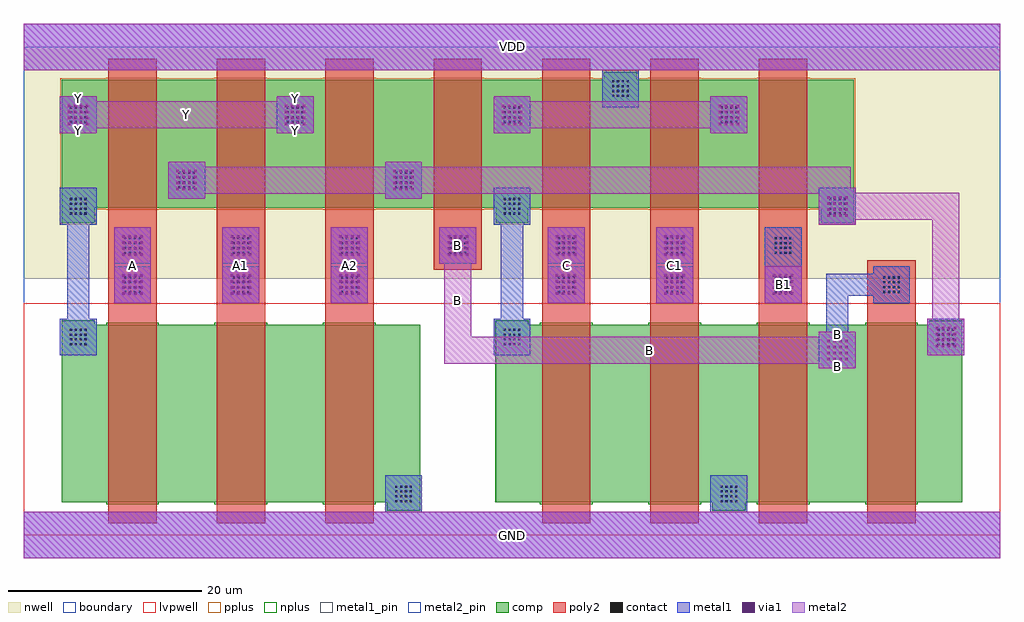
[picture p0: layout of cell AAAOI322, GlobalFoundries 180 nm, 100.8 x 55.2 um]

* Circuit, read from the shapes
.subckt AAAOI322 A A1 A2 B B1 C C1 GND VDD Y
XM1 n1 A Y VSUBS nfet_03v3 w=18.3u l=5u
XM2 n2 A1 n1 VSUBS nfet_03v3 w=18.3u l=5u
XM3 GND A2 n2 VSUBS nfet_03v3 w=18.3u l=5u
XM4 n3 C n4 VSUBS nfet_03v3 w=18.3u l=5u
XM5 GND C1 n3 VSUBS nfet_03v3 w=18.3u l=5u
XM6 n5 B1 GND VSUBS nfet_03v3 w=18.3u l=5u
XM7 n6 B n5 VSUBS nfet_03v3 w=18.3u l=5u
XM8 n6 A Y n7 pfet_03v3 w=13.2u l=5u
XM9 Y A1 n6 n7 pfet_03v3 w=13.2u l=5u
XM10 n6 A2 Y n7 pfet_03v3 w=13.2u l=5u
XM11 n4 B n6 n7 pfet_03v3 w=13.2u l=5u
XM12 VDD C n4 n7 pfet_03v3 w=13.2u l=5u
XM13 n4 C1 VDD n7 pfet_03v3 w=13.2u l=5u
XM14 n6 B1 n4 n7 pfet_03v3 w=13.2u l=5u
.ends

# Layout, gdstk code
import gdstk
lib = gdstk.Library(unit=1e-6, precision=1e-09)
def R(c, l, rs):  # rectangles x0, y0, x1, y1
    for r in rs: c.add(gdstk.rectangle(r[:2], r[2:], *l))
def A(c, l, x, y, w, h, nx, ny, dx, dy):  # array of equal rectangles
    R(c, l, [(x+i*dx, y+j*dy, x+i*dx+w, y+j*dy+h) for i in range(nx) for j in range(ny)])
boundary = (0, 0)
nwell = (21, 0)
comp = (22, 0)
poly2 = (30, 0)
pplus = (31, 0)
nplus = (32, 0)
contact = (33, 0)
metal1 = (34, 0)
metal1_pin = (34, 10)
via1 = (35, 0)
metal2 = (36, 0)
metal2_pin = (36, 10)
lvpwell = (204, 0)

aaaoi322 = lib.new_cell('AAAOI322')
R(aaaoi322, boundary, [(0,0,100.8,50.4)])
R(aaaoi322, nwell, [(0,26.45,100.8,50.4)])
A(aaaoi322, comp, 3.9, 21.7, 3.4, 0.45, 3, 1, 44.8, 0)
R(aaaoi322, comp, [(37.5,2.55,40.9,3.4), (71.1,2.55,74.5,3.4), (3.9,3.4,40.9,21.7), (48.7,3.4,96.9,21.7), (3.9,32.25,7.3,33.8), (48.7,32.25,52.1,33.8), (82.3,32.25,85.7,33.8), (3.9,33.8,85.7,47), (59.9,47,63.3,47.8)])
A(aaaoi322, poly2, 8.7, 1.2, 5, 48, 3, 1, 11.2, 0)
A(aaaoi322, poly2, 53.5, 1.2, 5, 48, 3, 1, 11.2, 0)
R(aaaoi322, poly2, [(87.1,1.2,92.1,28.35), (42.3,27.4,47.3,49.2)])
A(aaaoi322, pplus, 8.47, 33.57, 5.46, 0.07, 7, 2, 11.2, 13.59)
R(aaaoi322, pplus, [(3.74,32.09,7.46,33.64), (48.54,32.09,52.26,33.64), (82.14,32.09,85.86,33.64), (3.74,33.64,85.86,47.16), (59.74,47.16,63.46,47.96)])
A(aaaoi322, nplus, 8.47, 3.17, 5.46, 0.21, 3, 2, 11.2, 18.55)
A(aaaoi322, nplus, 53.27, 3.17, 5.46, 0.21, 4, 2, 11.2, 18.55)
A(aaaoi322, nplus, 3.88, 21.72, 3.44, 0.45, 3, 1, 44.8, 0)
R(aaaoi322, nplus, [(37.48,2.53,40.92,3.38), (71.08,2.53,74.52,3.38), (3.88,3.38,40.92,21.72), (48.68,3.38,96.92,21.72)])
A(aaaoi322, contact, 38.34, 3.39, 0.22, 0.22, 4, 4, 0.5, 0.5)
A(aaaoi322, contact, 71.94, 3.39, 0.22, 0.22, 4, 4, 0.5, 0.5)
A(aaaoi322, contact, 4.74, 19.59, 0.22, 0.22, 4, 4, 0.5, 0.5)
A(aaaoi322, contact, 49.54, 19.59, 0.22, 0.22, 4, 4, 0.5, 0.5)
A(aaaoi322, contact, 94.34, 19.59, 0.22, 0.22, 4, 4, 0.5, 0.5)
A(aaaoi322, contact, 10.34, 24.99, 0.22, 0.22, 4, 4, 0.5, 0.5)
A(aaaoi322, contact, 21.54, 24.99, 0.22, 0.22, 4, 4, 0.5, 0.5)
A(aaaoi322, contact, 32.74, 24.99, 0.22, 0.22, 4, 4, 0.5, 0.5)
A(aaaoi322, contact, 55.14, 24.99, 0.22, 0.22, 4, 4, 0.5, 0.5)
A(aaaoi322, contact, 66.34, 24.99, 0.22, 0.22, 4, 4, 0.5, 0.5)
A(aaaoi322, contact, 77.54, 24.99, 0.22, 0.22, 4, 4, 0.5, 0.5)
A(aaaoi322, contact, 88.74, 24.99, 0.22, 0.22, 4, 4, 0.5, 0.5)
A(aaaoi322, contact, 10.34, 29.04, 0.22, 0.22, 4, 4, 0.5, 0.5)
A(aaaoi322, contact, 21.54, 29.04, 0.22, 0.22, 4, 4, 0.5, 0.5)
A(aaaoi322, contact, 32.74, 29.04, 0.22, 0.22, 4, 4, 0.5, 0.5)
A(aaaoi322, contact, 43.94, 29.04, 0.22, 0.22, 4, 4, 0.5, 0.5)
A(aaaoi322, contact, 55.14, 29.04, 0.22, 0.22, 4, 4, 0.5, 0.5)
A(aaaoi322, contact, 66.34, 29.04, 0.22, 0.22, 4, 4, 0.5, 0.5)
A(aaaoi322, contact, 77.54, 29.04, 0.22, 0.22, 4, 4, 0.5, 0.5)
A(aaaoi322, contact, 4.74, 33.09, 0.22, 0.22, 4, 4, 0.5, 0.5)
A(aaaoi322, contact, 49.54, 33.09, 0.22, 0.22, 4, 4, 0.5, 0.5)
A(aaaoi322, contact, 83.14, 33.09, 0.22, 0.22, 4, 4, 0.5, 0.5)
A(aaaoi322, contact, 15.94, 35.79, 0.22, 0.22, 4, 4, 0.5, 0.5)
A(aaaoi322, contact, 38.34, 35.79, 0.22, 0.22, 4, 4, 0.5, 0.5)
A(aaaoi322, contact, 4.74, 42.54, 0.22, 0.22, 4, 4, 0.5, 0.5)
A(aaaoi322, contact, 27.14, 42.54, 0.22, 0.22, 4, 4, 0.5, 0.5)
A(aaaoi322, contact, 49.54, 42.54, 0.22, 0.22, 4, 4, 0.5, 0.5)
A(aaaoi322, contact, 71.94, 42.54, 0.22, 0.22, 4, 4, 0.5, 0.5)
A(aaaoi322, contact, 60.74, 45.24, 0.22, 0.22, 4, 4, 0.5, 0.5)
A(aaaoi322, metal1, 3.7, 18.55, 3.8, 3.8, 3, 1, 44.8, 0)
A(aaaoi322, metal1, 9.3, 23.95, 3.8, 3.8, 3, 1, 11.2, 0)
A(aaaoi322, metal1, 9.3, 28, 3.8, 3.8, 6, 1, 11.2, 0)
A(aaaoi322, metal1, 3.7, 41.5, 3.8, 3.8, 4, 1, 22.4, 0)
R(aaaoi322, metal1, [(0,-2.4,100.8,2.4), (37.3,2.4,41.1,6.15), (70.9,2.4,74.7,6.15), (82.1,17.2,85.9,21), (82.85,21,85.15,24.7), (4.45,22.35,6.75,32.05), (49.25,22.35,51.55,32.05), (54.1,23.95,57.9,27.75), (65.3,23.95,69.1,27.75), (76.5,23.95,80.3,31.8), (87.7,23.95,91.5,24.7), (82.85,24.7,91.5,27), (87.7,27,91.5,27.75), (3.7,32.05,7.5,35.85), (48.5,32.05,52.3,35.85), (82.1,32.05,85.9,35.85), (14.9,34.75,18.7,38.55), (37.3,34.75,41.1,38.55), (59.7,44.2,63.5,48), (0,48,100.8,52.8)])
R(aaaoi322, metal1_pin, [(0,-2.4,100.8,2.4), (0,48,100.8,52.8)])
A(aaaoi322, via1, 82.94, 18.04, 0.26, 0.26, 4, 4, 0.62, 0.62)
A(aaaoi322, via1, 94.14, 19.39, 0.26, 0.26, 4, 4, 0.62, 0.62)
A(aaaoi322, via1, 10.14, 24.79, 0.26, 0.26, 4, 4, 0.62, 0.62)
A(aaaoi322, via1, 21.34, 24.79, 0.26, 0.26, 4, 4, 0.62, 0.62)
A(aaaoi322, via1, 32.54, 24.79, 0.26, 0.26, 4, 4, 0.62, 0.62)
A(aaaoi322, via1, 54.94, 24.79, 0.26, 0.26, 4, 4, 0.62, 0.62)
A(aaaoi322, via1, 66.14, 24.79, 0.26, 0.26, 4, 4, 0.62, 0.62)
A(aaaoi322, via1, 77.34, 24.79, 0.26, 0.26, 4, 4, 0.62, 0.62)
A(aaaoi322, via1, 10.14, 28.84, 0.26, 0.26, 4, 4, 0.62, 0.62)
A(aaaoi322, via1, 21.34, 28.84, 0.26, 0.26, 4, 4, 0.62, 0.62)
A(aaaoi322, via1, 32.54, 28.84, 0.26, 0.26, 4, 4, 0.62, 0.62)
A(aaaoi322, via1, 43.74, 28.84, 0.26, 0.26, 4, 4, 0.62, 0.62)
A(aaaoi322, via1, 54.94, 28.84, 0.26, 0.26, 4, 4, 0.62, 0.62)
A(aaaoi322, via1, 66.14, 28.84, 0.26, 0.26, 4, 4, 0.62, 0.62)
A(aaaoi322, via1, 82.94, 32.89, 0.26, 0.26, 4, 4, 0.62, 0.62)
A(aaaoi322, via1, 15.74, 35.59, 0.26, 0.26, 4, 4, 0.62, 0.62)
A(aaaoi322, via1, 38.14, 35.59, 0.26, 0.26, 4, 4, 0.62, 0.62)
A(aaaoi322, via1, 4.54, 42.34, 0.26, 0.26, 4, 4, 0.62, 0.62)
A(aaaoi322, via1, 26.94, 42.34, 0.26, 0.26, 4, 4, 0.62, 0.62)
A(aaaoi322, via1, 49.34, 42.34, 0.26, 0.26, 4, 4, 0.62, 0.62)
A(aaaoi322, via1, 71.74, 42.34, 0.26, 0.26, 4, 4, 0.62, 0.62)
A(aaaoi322, metal2, 9.3, 23.95, 3.8, 7.85, 3, 1, 11.2, 0)
A(aaaoi322, metal2, 3.7, 41.5, 3.8, 0.5, 4, 2, 22.4, 3.3)
R(aaaoi322, metal2, [(0,-2.4,100.8,2.4), (82.1,17.2,85.9,17.7), (43.4,17.7,85.9,20.5), (93.3,18.55,97.1,22.35), (43.4,20.5,46.2,28), (82.1,20.5,85.9,21), (93.8,22.35,96.6,32.55), (54.1,23.95,57.9,31.8), (65.3,23.95,69.1,31.8), (76.5,23.95,80.3,27.75), (42.9,28,46.7,31.8), (82.1,32.05,85.9,32.55), (82.1,32.55,96.6,35.25), (14.9,34.75,18.7,35.25), (37.3,34.75,41.1,35.25), (14.9,35.25,96.6,35.35), (14.9,35.35,85.9,35.85), (14.9,35.85,85.4,38.05), (14.9,38.05,18.7,38.55), (37.3,38.05,41.1,38.55), (3.7,42,29.9,44.8), (48.5,42,74.7,44.8), (0,48,100.8,52.8)])
A(aaaoi322, metal2_pin, 9.3, 23.95, 3.8, 7.85, 3, 1, 11.2, 0)
R(aaaoi322, metal2_pin, [(82.1,17.2,85.9,17.7), (43.4,17.7,85.9,20.5), (43.4,20.5,46.2,28), (82.1,20.5,85.9,21), (54.1,23.95,57.9,31.8), (65.3,23.95,69.1,31.8), (76.5,23.95,80.3,27.75), (42.9,28,46.7,31.8), (3.7,41.5,7.5,42), (26.1,41.5,29.9,42), (3.7,42,29.9,44.8), (3.7,44.8,7.5,45.3), (26.1,44.8,29.9,45.3)])
R(aaaoi322, lvpwell, [(0,0,100.8,23.95)])
aaaoi322.add(gdstk.Label('VDD', (50.4,50.4), layer=34, texttype=10))
aaaoi322.add(gdstk.Label('GND', (50.4,0), layer=34, texttype=10))
aaaoi322.add(gdstk.Label('Y', (5.6,41.75), layer=36, texttype=10))
aaaoi322.add(gdstk.Label('Y', (28,41.75), layer=36, texttype=10))
aaaoi322.add(gdstk.Label('Y', (16.8,43.4), layer=36, texttype=10))
aaaoi322.add(gdstk.Label('Y', (5.6,45.05), layer=36, texttype=10))
aaaoi322.add(gdstk.Label('Y', (28,45.05), layer=36, texttype=10))
aaaoi322.add(gdstk.Label('A2', (33.6,27.875), layer=36, texttype=10))
aaaoi322.add(gdstk.Label('C1', (67.2,27.875), layer=36, texttype=10))
aaaoi322.add(gdstk.Label('A', (11.2,27.875), layer=36, texttype=10))
aaaoi322.add(gdstk.Label('B1', (78.4,25.85), layer=36, texttype=10))
aaaoi322.add(gdstk.Label('B', (84,17.45), layer=36, texttype=10))
aaaoi322.add(gdstk.Label('B', (64.65,19.1), layer=36, texttype=10))
aaaoi322.add(gdstk.Label('B', (84,20.75), layer=36, texttype=10))
aaaoi322.add(gdstk.Label('B', (44.8,24.25), layer=36, texttype=10))
aaaoi322.add(gdstk.Label('B', (44.8,29.9), layer=36, texttype=10))
aaaoi322.add(gdstk.Label('C', (56,27.875), layer=36, texttype=10))
aaaoi322.add(gdstk.Label('A1', (22.4,27.875), layer=36, texttype=10))

lib.write_gds('AAAOI322.gds')
